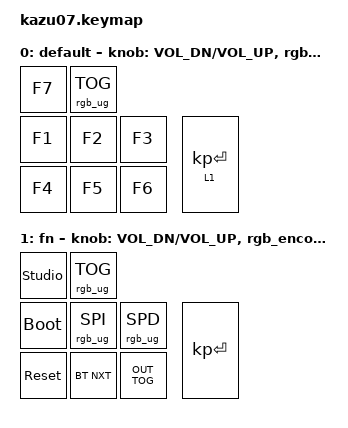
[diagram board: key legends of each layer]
/*
 * Copyright (c) 2021 The ZMK Contributors
 *
 * SPDX-License-Identifier: MIT
 */

#include <behaviors.dtsi>
#include <physical_layouts.dtsi>
#include <dt-bindings/zmk/keys.h>
#include <dt-bindings/zmk/bt.h>
#include <dt-bindings/zmk/outputs.h>
#include <dt-bindings/zmk/rgb.h>
#include <dt-bindings/zmk/matrix_transform.h>

#define TIMEOUT 300

&roller_encoder {
    status = "okay";
};

&right_knob {
    status = "okay";
};

&left_knob {
    status = "okay";
};
/ {
    combos {
        compatible = "zmk,combos";
        combo_btclr {
            timeout-ms = <TIMEOUT>;
            key-positions = <0 4>;
            bindings = <&bt BT_CLR>;
        };
        combo_reset {
            timeout-ms = <TIMEOUT>;
            key-positions = <0 2>;
            bindings = <&sys_reset>;
        };
        combo_bootloader {
            timeout-ms = <TIMEOUT>;
            key-positions = <0 1>;
            bindings = <&bootloader>;
        };
        combo_bt_nxt {
            timeout-ms = <TIMEOUT>;
            key-positions = <0 3>;
            bindings = <&bt BT_NXT>;
        };
    };

    behaviors {
        rgb_encoder: rgb_encoder {
            compatible = "zmk,behavior-sensor-rotate";
            #sensor-binding-cells = <0>;
            bindings = <&rgb_ug RGB_BRI>, <&rgb_ug RGB_BRD>;
        };
    };

    keymap: keymap {
        compatible = "zmk,keymap";

        default_layer {
            display-name = "default";
            bindings = <    &kp F7       &rgb_ug RGB_TOG
                            &kp F1       &kp F2          &kp F3            &lt 1 KP_ENTER
                            &kp F4       &kp F5          &kp F6
            >;
            sensor-bindings = <&inc_dec_kp C_VOL_DN C_VOL_UP  &rgb_encoder &inc_dec_kp C_VOL_UP C_VOL_DN>;
        };

        fn_layer {
            display-name = "fn";
            bindings = <    &studio_unlock      &rgb_ug RGB_TOG
                            &bootloader         &rgb_ug RGB_SPI         &rgb_ug RGB_SPD     &kp KP_ENTER
                            &sys_reset          &bt BT_NXT              &kp OUT_TOG
            >;
            sensor-bindings = <&inc_dec_kp C_VOL_DN C_VOL_UP &rgb_encoder &inc_dec_kp C_VOL_UP C_VOL_DN>;
        };
    };
};
